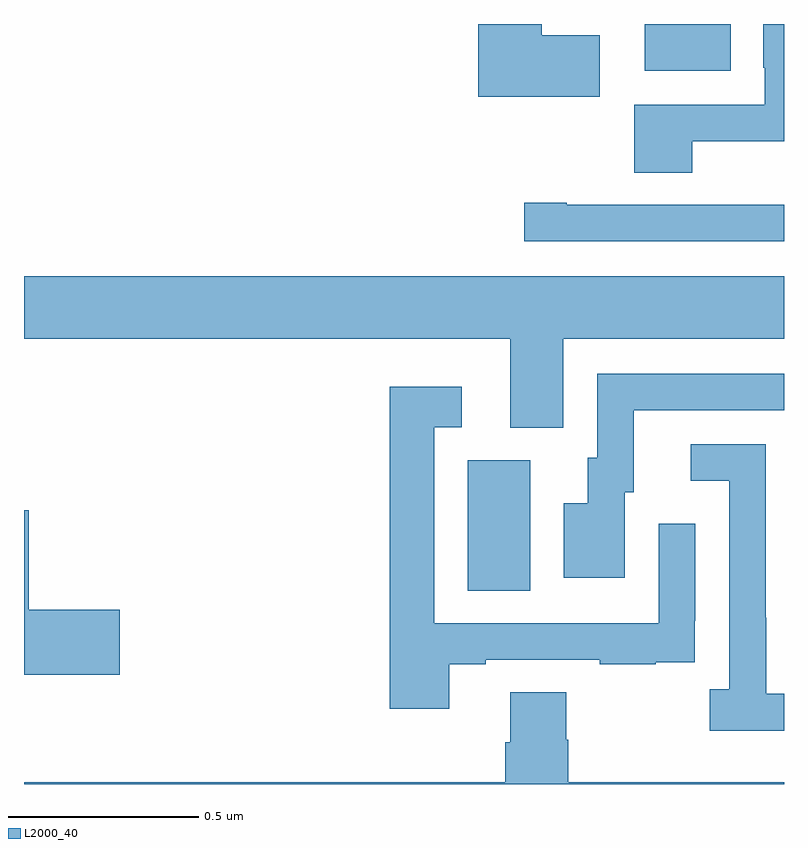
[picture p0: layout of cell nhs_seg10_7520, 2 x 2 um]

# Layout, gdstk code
import gdstk
lib = gdstk.Library(unit=1e-6, precision=1e-09)
def R(c, l, rs):  # rectangles x0, y0, x1, y1
    for r in rs: c.add(gdstk.rectangle(r[:2], r[2:], *l))
def P(c, l, *ps):  # polygons
    for p in ps: c.add(gdstk.Polygon(p, *l))
L2000_40 = (2000, 40)

nhs_seg10_7520 = lib.new_cell('nhs_seg10_7520')
R(nhs_seg10_7520, L2000_40, [(206.168,1277.008,206.332,1277.352), (206.633,1278.377,206.86,1278.5)])
P(nhs_seg10_7520, L2000_40, [(206.758,1278.192),(207,1278.192),(207,1278.5),(206.945,1278.5),(206.945,1278.385),(206.949,1278.385),(206.949,1278.288),(206.606,1278.288),(206.606,1278.109),(206.758,1278.109)],
  [(206.515,1278.471),(206.362,1278.471),(206.362,1278.5),(206.195,1278.5),(206.195,1278.308),(206.515,1278.308)],
  [(207,1278.024),(206.428,1278.024),(206.428,1278.029),(206.316,1278.029),(206.316,1277.928),(207,1277.928)],
  [(206.419,1277.672),(207,1277.672),(207,1277.836),(205,1277.836),(205,1277.672),(206.279,1277.672),(206.279,1277.437),(206.419,1277.437)],
  [(206.581,1277.268),(206.605,1277.268),(206.605,1277.484),(207,1277.484),(207,1277.58),(206.508,1277.58),(206.508,1277.358),(206.483,1277.358),(206.483,1277.239),(206.42,1277.239),(206.42,1277.043),(206.581,1277.043)],
  [(206.119,1276.815),(206.215,1276.815),(206.215,1276.827),(206.515,1276.827),(206.515,1276.815),(206.663,1276.815),(206.663,1276.821),(206.765,1276.821),(206.765,1276.93),(206.766,1276.93),(206.766,1277.185),(206.67,1277.185),(206.67,1276.923),(206.079,1276.923),(206.079,1277.439),(206.152,1277.439),(206.152,1277.545),(205.963,1277.545),(205.963,1276.698),(206.119,1276.698)],
  [(207,1276.737),(206.953,1276.737),(206.953,1276.937),(206.952,1276.937),(206.952,1277.394),(206.754,1277.394),(206.754,1277.298),(206.856,1277.298),(206.856,1276.75),(206.805,1276.75),(206.805,1276.64),(207,1276.64)],
  [(205.252,1276.958),(205.013,1276.958),(205.013,1277.221),(205,1277.221),(205,1276.787),(205.252,1276.787)],
  [(207,1276.504),(206.432,1276.504),(206.432,1276.617),(206.427,1276.617),(206.427,1276.742),(206.279,1276.742),(206.279,1276.61),(206.267,1276.61),(206.267,1276.504),(205,1276.504),(205,1276.5),(207,1276.5)])

lib.write_gds('nhs_seg10_7520.gds')
